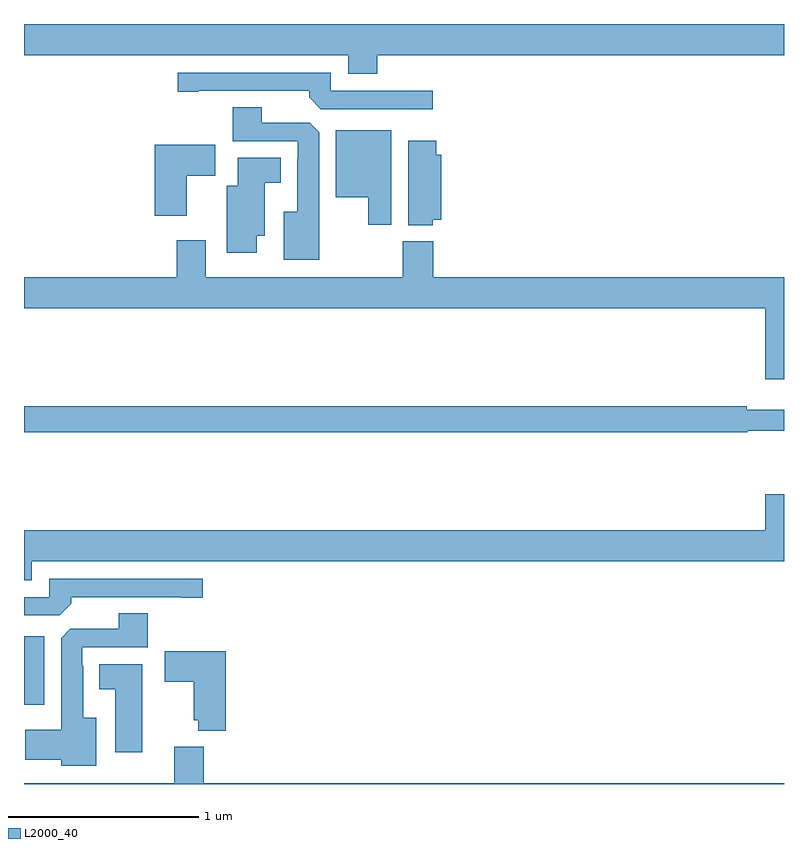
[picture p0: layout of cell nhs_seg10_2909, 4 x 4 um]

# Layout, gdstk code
import gdstk
lib = gdstk.Library(unit=1e-6, precision=1e-09)
def R(c, l, rs):  # rectangles x0, y0, x1, y1
    for r in rs: c.add(gdstk.rectangle(r[:2], r[2:], *l))
def P(c, l, *ps):  # polygons
    for p in ps: c.add(gdstk.Polygon(p, *l))
L2000_40 = (2000, 40)

nhs_seg10_2909 = lib.new_cell('nhs_seg10_2909')
R(nhs_seg10_2909, L2000_40, [(269,1276.916,269.107,1277.278)])
P(nhs_seg10_2909, L2000_40, [(270.86,1280.336),(273,1280.336),(273,1280.5),(269,1280.5),(269,1280.336),(270.707,1280.336),(270.707,1280.237),(270.86,1280.237)],
  [(271.15,1280.148),(270.615,1280.148),(270.615,1280.244),(269.808,1280.244),(269.808,1280.143),(269.92,1280.143),(269.92,1280.148),(270.5,1280.148),(270.5,1280.114),(270.561,1280.052),(271.15,1280.052)],
  [(270.553,1279.931),(270.504,1279.98),(270.25,1279.98),(270.25,1280.063),(270.098,1280.063),(270.098,1279.884),(270.441,1279.884),(270.441,1279.787),(270.437,1279.787),(270.437,1279.513),(270.368,1279.513),(270.368,1279.259),(270.553,1279.259)],
  [(270.934,1279.942),(270.641,1279.942),(270.641,1279.589),(270.812,1279.589),(270.812,1279.443),(270.934,1279.443)],
  [(271.152,1279.469),(271.195,1279.469),(271.195,1279.813),(271.169,1279.813),(271.169,1279.885),(271.022,1279.885),(271.022,1279.442),(271.152,1279.442)],
  [(269.857,1279.702),(270.007,1279.702),(270.007,1279.864),(269.687,1279.864),(269.687,1279.491),(269.857,1279.491)],
  [(270.226,1279.385),(270.268,1279.385),(270.268,1279.664),(270.352,1279.664),(270.352,1279.795),(270.125,1279.795),(270.125,1279.648),(270.068,1279.648),(270.068,1279.296),(270.226,1279.296)],
  [(273,1279.168),(271.154,1279.168),(271.154,1279.357),(270.994,1279.357),(270.994,1279.168),(269.956,1279.168),(269.956,1279.363),(269.804,1279.363),(269.804,1279.168),(269,1279.168),(269,1279.004),(272.9,1279.004),(272.9,1278.63),(273,1278.63)],
  [(272.806,1278.36),(273,1278.36),(273,1278.469),(272.804,1278.469),(272.804,1278.488),(269,1278.488),(269,1278.352),(272.806,1278.352)],
  [(269.041,1277.672),(273,1277.672),(273,1278.025),(272.9,1278.025),(272.9,1277.836),(269,1277.836),(269,1277.573),(269.041,1277.573)],
  [(269.249,1277.45),(269.249,1277.484),(269.828,1277.484),(269.828,1277.479),(269.941,1277.479),(269.941,1277.58),(269.133,1277.58),(269.133,1277.484),(269,1277.484),(269,1277.388),(269.187,1277.388)],
  [(269.38,1276.849),(269.311,1276.849),(269.311,1277.123),(269.307,1277.123),(269.307,1277.22),(269.651,1277.22),(269.651,1277.399),(269.498,1277.399),(269.498,1277.316),(269.244,1277.316),(269.195,1277.267),(269.195,1276.786),(269.007,1276.786),(269.007,1276.628),(269.195,1276.628),(269.195,1276.595),(269.38,1276.595)],
  [(270.062,1277.2),(269.742,1277.2),(269.742,1277.038),(269.894,1277.038),(269.894,1276.835),(269.917,1276.835),(269.917,1276.781),(270.062,1276.781)],
  [(269.623,1277.131),(269.396,1277.131),(269.396,1277),(269.48,1277),(269.48,1276.668),(269.623,1276.668)],
  [(273,1276.504),(269.945,1276.504),(269.945,1276.696),(269.792,1276.696),(269.792,1276.504),(269,1276.504),(269,1276.5),(273,1276.5)])

lib.write_gds('nhs_seg10_2909.gds')
